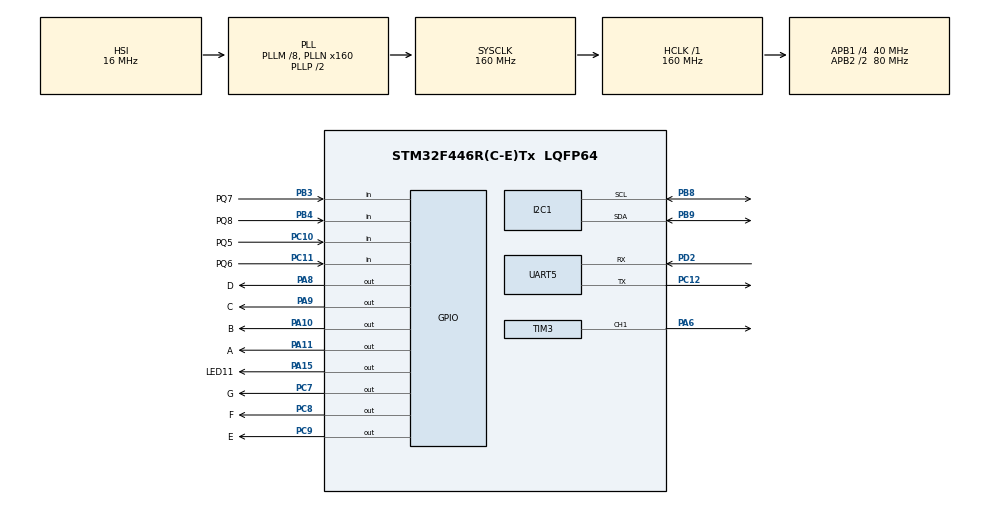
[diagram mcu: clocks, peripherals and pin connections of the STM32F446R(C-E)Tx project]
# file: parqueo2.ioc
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Dma.Request0=TIM3_CH1/TRIG
Dma.TIM3_CH1/TRIG.0.Direction=DMA_MEMORY_TO_PERIPH
Dma.TIM3_CH1/TRIG.0.FIFOMode=DMA_FIFOMODE_DISABLE
Dma.TIM3_CH1/TRIG.0.Instance=DMA1_Stream4
Dma.TIM3_CH1/TRIG.0.MemDataAlignment=DMA_MDATAALIGN_HALFWORD
Dma.TIM3_CH1/TRIG.0.MemInc=DMA_MINC_ENABLE
Dma.TIM3_CH1/TRIG.0.Mode=DMA_NORMAL
Dma.TIM3_CH1/TRIG.0.PeriphDataAlignment=DMA_PDATAALIGN_HALFWORD
Dma.TIM3_CH1/TRIG.0.PeriphInc=DMA_PINC_DISABLE
Dma.TIM3_CH1/TRIG.0.Priority=DMA_PRIORITY_LOW
I2C1.NoStretchMode=I2C_NOSTRETCH_ENABLE
I2C1.OwnAddress=0
Mcu.Family=STM32F4
Mcu.Name=STM32F446R(C-E)Tx
Mcu.Package=LQFP64
NVIC.DMA1_Stream4_IRQn=true\:0\:0\:false\:false\:true\:false\:true\:true
NVIC.I2C1_ER_IRQn=true\:0\:0\:false\:false\:true\:true\:true\:true
NVIC.I2C1_EV_IRQn=true\:0\:0\:false\:false\:true\:true\:true\:true
NVIC.PriorityGroup=NVIC_PRIORITYGROUP_4
NVIC.TIM3_IRQn=true\:0\:0\:false\:false\:true\:true\:true\:true
NVIC.UART5_IRQn=true\:0\:0\:false\:false\:true\:true\:true\:true
PA10.GPIO_Label=B
PA10.Signal=GPIO_Output
PA11.GPIO_Label=A
PA11.Signal=GPIO_Output
PA13.Mode=Serial_Wire
PA13.Signal=SYS_JTMS-SWDIO
PA14.Mode=Serial_Wire
PA14.Signal=SYS_JTCK-SWCLK
PA15.GPIO_Label=LED11
PA15.Signal=GPIO_Output
PA6.Signal=S_TIM3_CH1
PA8.GPIO_Label=D
PA8.Signal=GPIO_Output
PA9.GPIO_Label=C
PA9.Signal=GPIO_Output
PB3.GPIO_Label=PQ7
PB3.Signal=GPIO_Input
PB4.GPIO_Label=PQ8
PB4.Signal=GPIO_Input
PB8.Mode=I2C
PB8.Signal=I2C1_SCL
PB9.Mode=I2C
PB9.Signal=I2C1_SDA
PC10.GPIO_Label=PQ5
PC10.Signal=GPIO_Input
PC11.GPIO_Label=PQ6
PC11.Signal=GPIO_Input
PC12.Mode=Asynchronous
PC12.Signal=UART5_TX
PC7.GPIO_Label=G
PC7.Signal=GPIO_Output
PC8.GPIO_Label=F
PC8.Signal=GPIO_Output
PC9.GPIO_Label=E
PC9.Signal=GPIO_Output
PD2.Mode=Asynchronous
PD2.Signal=UART5_RX
ProjectManager.HeapSize=0x200
ProjectManager.StackSize=0x400
ProjectManager.TargetToolchain=STM32CubeIDE
RCC.AHBFreq_Value=160000000
RCC.APB1CLKDivider=RCC_HCLK_DIV4
RCC.APB1Freq_Value=40000000
RCC.APB1TimFreq_Value=80000000
RCC.APB2CLKDivider=RCC_HCLK_DIV2
RCC.APB2Freq_Value=80000000
RCC.APB2TimFreq_Value=160000000
RCC.CortexFreq_Value=160000000
RCC.HCLKFreq_Value=160000000
RCC.PLLM=8
RCC.PLLN=160
RCC.SYSCLKFreq_VALUE=160000000
RCC.SYSCLKSource=RCC_SYSCLKSOURCE_PLLCLK
RCC.USBFreq_Value=160000000
RCC.VCOOutputFreq_Value=320000000
SH.S_TIM3_CH1.0=TIM3_CH1,PWM Generation1 CH1
TIM3.AutoReloadPreload=TIM_AUTORELOAD_PRELOAD_ENABLE
TIM3.Channel-PWM\ Generation1\ CH1=TIM_CHANNEL_1
TIM3.Period=24
TIM3.Prescaler=3
UART5.VirtualMode=Asynchronous
board=custom

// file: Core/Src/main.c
/* USER CODE BEGIN Header */
/**
  ******************************************************************************
  * @file           : main.c
  * @brief          : Main program body
  ******************************************************************************
  * @attention
  *
  * Copyright (c) 2024 STMicroelectronics.
  * All rights reserved.
  *
  * This software is licensed under terms that can be found in the LICENSE file
  * in the root directory of this software component.
  * If no LICENSE file comes with this software, it is provided AS-IS.
  *
  ******************************************************************************
  */
/* USER CODE END Header */
#include "main.h"

/* USER CODE BEGIN Includes */
#include <string.h>
#include <stdio.h>
#include "neo_pixel.h"

/* USER CODE END Includes */

/* USER CODE BEGIN PD */
#define ESP32_ADDRESS 0x10
#define NUMBER_OF_LEDS 8

/* USER CODE END PD */

I2C_HandleTypeDef hi2c1;

TIM_HandleTypeDef htim3;
DMA_HandleTypeDef hdma_tim3_ch1_trig;

UART_HandleTypeDef huart5;

/* USER CODE BEGIN PV */
uint8_t option[1];
uint8_t tx_buffer[20];

neopixel_led leds[NUMBER_OF_LEDS + 1];
neopixel_led circular_pattern_led[2 * NUMBER_OF_LEDS + 1];
rgb_color led_pattern[NUMBER_OF_LEDS];

int dis = 0;
int m1 = 1;
int m2 = 1;
int m3 = 1;
int m4 = 1;
int m5 = 1;
int m6 = 1;
int m7 = 1;
int m8 = 1;
int conteo = 0; //son los valores que se reciben del I2C

/* USER CODE END PV */

void SystemClock_Config(void);
static void MX_GPIO_Init(void);
static void MX_DMA_Init(void);
static void MX_I2C1_Init(void);
static void MX_TIM3_Init(void);
static void MX_UART5_Init(void);
/* USER CODE BEGIN PFP */

void send_i2c_command(char* command);

/* USER CODE END PFP */

int main(void)
{

  /* USER CODE BEGIN 1 */

	neopixel_led temp_neo_pixel;
	rgb_color red_color = {255, 0, 0};
	rgb_color green_color = {0, 255, 0};
	rgb_color blue_color = {0, 0, 255};
	rgb_color black_color = {0, 0, 0};
	uint16_t led_pos_counter = 0;

  /* USER CODE END 1 */

  /* MCU Configuration--------------------------------------------------------*/

  /* Reset of all peripherals, Initializes the Flash interface and the Systick. */
  HAL_Init();

  /* Configure the system clock */
  SystemClock_Config();

  /* Initialize all configured peripherals */
  MX_GPIO_Init();
  MX_DMA_Init();
  MX_I2C1_Init();
  MX_TIM3_Init();
  MX_UART5_Init();
  /* USER CODE BEGIN 2 */
  HAL_UART_Receive_IT(&huart5, option, 1);  // EMPEZAR RECEPCIÓN

  /* USER CODE END 2 */

  /* Infinite loop */
  /* USER CODE BEGIN WHILE */
  while (1)
  {
	  if(HAL_GPIO_ReadPin(PQ5_GPIO_Port, PQ5_Pin) == 1){
		  HAL_GPIO_WritePin(LED11_GPIO_Port, LED11_Pin, GPIO_PIN_SET);
		  m5 = 1;
		  send_i2c_command("A");
		  transmit_uart5("e");

		  reset_specific_led(leds, 0);
		  set_specific_led(leds, 0, &green_color); // Establecer el primer LED en rojo
		  HAL_TIM_PWM_Start_DMA(&htim3, TIM_CHANNEL_1, (uint32_t*)leds, NUMBER_OF_LEDS * 24 + 24); // Enviar datos a los LEDs

		  HAL_Delay(50);

	  }else{
		  m5 = 0;
		  HAL_GPIO_WritePin(LED11_GPIO_Port, LED11_Pin, GPIO_PIN_RESET);
		  send_i2c_command("a");
		  transmit_uart5("E");

		  reset_specific_led(leds, 0);
		  set_specific_led(leds, 0, &red_color); // Establecer el primer LED en rojo
		  HAL_TIM_PWM_Start_DMA(&htim3, TIM_CHANNEL_1, (uint32_t*)leds, NUMBER_OF_LEDS * 24 + 24); // Enviar datos a los LEDs

		  HAL_Delay(50);
	  };
	  if(HAL_GPIO_ReadPin(PQ6_GPIO_Port, PQ6_Pin) == 1){
		  m6 = 1;
		  send_i2c_command("B");
		  transmit_uart5("f");

		  reset_specific_led(leds, 1);
		  set_specific_led(leds, 1, &green_color); // Establecer el primer LED en rojo
		  HAL_TIM_PWM_Start_DMA(&htim3, TIM_CHANNEL_1, (uint32_t*)leds, NUMBER_OF_LEDS * 24 + 24); // Enviar datos a los LEDs

		  HAL_Delay(50);
	  }else{
		  m6 = 0;
		  send_i2c_command("b");
		  transmit_uart5("F");

		  reset_specific_led(leds, 1);
		  set_specific_led(leds, 1, &red_color); // Establecer el primer LED en rojo
		  HAL_TIM_PWM_Start_DMA(&htim3, TIM_CHANNEL_1, (uint32_t*)leds, NUMBER_OF_LEDS * 24 + 24); // Enviar datos a los LEDs

		  HAL_Delay(50);
	  };
	  if(HAL_GPIO_ReadPin(PQ7_GPIO_Port, PQ7_Pin) == 1){
		  m7 = 1;
		  send_i2c_command("C");
		  transmit_uart5("g");

		  reset_specific_led(leds, 2);
		  set_specific_led(leds, 2, &green_color); // Establecer el primer LED en rojo
		  HAL_TIM_PWM_Start_DMA(&htim3, TIM_CHANNEL_1, (uint32_t*)leds, NUMBER_OF_LEDS * 24 + 24); // Enviar datos a los LEDs

		  HAL_Delay(50);
	  }else{
		  m7 = 0;
		  send_i2c_command("c");
		  transmit_uart5("G");

		  reset_specific_led(leds, 2);
		  set_specific_led(leds, 2, &red_color); // Establecer el primer LED en rojo
		  HAL_TIM_PWM_Start_DMA(&htim3, TIM_CHANNEL_1, (uint32_t*)leds, NUMBER_OF_LEDS * 24 + 24); // Enviar datos a los LEDs

		  HAL_Delay(50);
	  };
	  if(HAL_GPIO_ReadPin(PQ8_GPIO_Port, PQ8_Pin) == 1){
		  m8 = 1;
		  send_i2c_command("D");
		  transmit_uart5("h");

		  reset_specific_led(leds, 3);
		  set_specific_led(leds, 3, &green_color); // Establecer el primer LED en rojo
		  HAL_TIM_PWM_Start_DMA(&htim3, TIM_CHANNEL_1, (uint32_t*)leds, NUMBER_OF_LEDS * 24 + 24); // Enviar datos a los LEDs

		  HAL_Delay(50);
	  }else{
		  m8 = 0;
		  send_i2c_command("d");
		  transmit_uart5("H");

		  reset_specific_led(leds, 3);
		  set_specific_led(leds, 3, &red_color); // Establecer el primer LED en rojo
		  HAL_TIM_PWM_Start_DMA(&htim3, TIM_CHANNEL_1, (uint32_t*)leds, NUMBER_OF_LEDS * 24 + 24); // Enviar datos a los LEDs

		  HAL_Delay(50);
	  };

	  if(m1 == 1){

		  reset_specific_led(leds, 4);
		  set_specific_led(leds, 4, &green_color); // Establecer el primer LED en rojo
		  HAL_TIM_PWM_Start_DMA(&htim3, TIM_CHANNEL_1, (uint32_t*)leds, NUMBER_OF_LEDS * 24 + 24); // Enviar datos a los LEDs

	  }else{
		  reset_specific_led(leds, 4);
		  set_specific_led(leds, 4, &red_color); // Establecer el primer LED en rojo
		  HAL_TIM_PWM_Start_DMA(&htim3, TIM_CHANNEL_1, (uint32_t*)leds, NUMBER_OF_LEDS * 24 + 24); // Enviar datos a los LEDs

	  };

	  if(m2 == 1){

		  reset_specific_led(leds, 5);
		  set_specific_led(leds, 5, &green_color); // Establecer el primer LED en rojo
		  HAL_TIM_PWM_Start_DMA(&htim3, TIM_CHANNEL_1, (uint32_t*)leds, NUMBER_OF_LEDS * 24 + 24); // Enviar datos a los LEDs

	  }else{
		  reset_specific_led(leds, 5);
		  set_specific_led(leds, 5, &red_color); // Establecer el primer LED en rojo
		  HAL_TIM_PWM_Start_DMA(&htim3, TIM_CHANNEL_1, (uint32_t*)leds, NUMBER_OF_LEDS * 24 + 24); // Enviar datos a los LEDs

	  };

	  if(m3 == 1){

		  reset_specific_led(leds, 6);
		  set_specific_led(leds, 6, &green_color); // Establecer el primer LED en rojo
		  HAL_TIM_PWM_Start_DMA(&htim3, TIM_CHANNEL_1, (uint32_t*)leds, NUMBER_OF_LEDS * 24 + 24); // Enviar datos a los LEDs

	  }else{
		  reset_specific_led(leds, 6);
		  set_specific_led(leds, 6, &red_color); // Establecer el primer LED en rojo
		  HAL_TIM_PWM_Start_DMA(&htim3, TIM_CHANNEL_1, (uint32_t*)leds, NUMBER_OF_LEDS * 24 + 24); // Enviar datos a los LEDs

	  };

	  if(m4 == 1){

		  reset_specific_led(leds, 7);
		  set_specific_led(leds, 7, &green_color); // Establecer el primer LED en rojo
		  HAL_TIM_PWM_Start_DMA(&htim3, TIM_CHANNEL_1, (uint32_t*)leds, NUMBER_OF_LEDS * 24 + 24); // Enviar datos a los LEDs

	  }else{
		  reset_specific_led(leds, 7);
		  set_specific_led(leds, 7, &red_color); // Establecer el primer LED en rojo
		  HAL_TIM_PWM_Start_DMA(&htim3, TIM_CHANNEL_1, (uint32_t*)leds, NUMBER_OF_LEDS * 24 + 24); // Enviar datos a los LEDs

	  };

	  dis = m5 + m6 + m7 + m8 + m1 + m2 + m3 + m4;

	  switch(dis){
	  	  case 0:
	  		HAL_GPIO_WritePin(A_GPIO_Port, A_Pin, GPIO_PIN_SET);
	  		HAL_GPIO_WritePin(B_GPIO_Port, B_Pin, GPIO_PIN_SET);
	  		HAL_GPIO_WritePin(C_GPIO_Port, C_Pin, GPIO_PIN_SET);
	  		HAL_GPIO_WritePin(D_GPIO_Port, D_Pin, GPIO_PIN_SET);
	  		HAL_GPIO_WritePin(E_GPIO_Port, E_Pin, GPIO_PIN_SET);
	  		HAL_GPIO_WritePin(F_GPIO_Port, F_Pin, GPIO_PIN_SET);
	  		HAL_GPIO_WritePin(G_GPIO_Port, G_Pin, GPIO_PIN_RESET);
		  break;
	  	case 1:
	  		HAL_GPIO_WritePin(A_GPIO_Port, A_Pin, GPIO_PIN_RESET);
	  		HAL_GPIO_WritePin(B_GPIO_Port, B_Pin, GPIO_PIN_SET);
	  		HAL_GPIO_WritePin(C_GPIO_Port, C_Pin, GPIO_PIN_SET);
	  		HAL_GPIO_WritePin(D_GPIO_Port, D_Pin, GPIO_PIN_RESET);
	  		HAL_GPIO_WritePin(E_GPIO_Port, E_Pin, GPIO_PIN_RESET);
	  		HAL_GPIO_WritePin(F_GPIO_Port, F_Pin, GPIO_PIN_RESET);
	  		HAL_GPIO_WritePin(G_GPIO_Port, G_Pin, GPIO_PIN_RESET);
	  	  break;
	  	case 2:
	  		HAL_GPIO_WritePin(A_GPIO_Port, A_Pin, GPIO_PIN_SET);
	  		HAL_GPIO_WritePin(B_GPIO_Port, B_Pin, GPIO_PIN_SET);
	  		HAL_GPIO_WritePin(C_GPIO_Port, C_Pin, GPIO_PIN_RESET);
	  		HAL_GPIO_WritePin(D_GPIO_Port, D_Pin, GPIO_PIN_SET);
	  		HAL_GPIO_WritePin(E_GPIO_Port, E_Pin, GPIO_PIN_SET);
	  		HAL_GPIO_WritePin(F_GPIO_Port, F_Pin, GPIO_PIN_RESET);
	  		HAL_GPIO_WritePin(G_GPIO_Port, G_Pin, GPIO_PIN_SET);
	  	  break;
	  	case 3:
	  		HAL_GPIO_WritePin(A_GPIO_Port, A_Pin, GPIO_PIN_SET);
	  		HAL_GPIO_WritePin(B_GPIO_Port, B_Pin, GPIO_PIN_SET);
	  		HAL_GPIO_WritePin(C_GPIO_Port, C_Pin, GPIO_PIN_SET);
	  		HAL_GPIO_WritePin(D_GPIO_Port, D_Pin, GPIO_PIN_SET);
	  		HAL_GPIO_WritePin(E_GPIO_Port, E_Pin, GPIO_PIN_RESET);
	  		HAL_GPIO_WritePin(F_GPIO_Port, F_Pin, GPIO_PIN_RESET);
	  		HAL_GPIO_WritePin(G_GPIO_Port, G_Pin, GPIO_PIN_SET);
	  			  break;
	  	case 4:
	  		HAL_GPIO_WritePin(A_GPIO_Port, A_Pin, GPIO_PIN_RESET);
	  		HAL_GPIO_WritePin(B_GPIO_Port, B_Pin, GPIO_PIN_SET);
	  		HAL_GPIO_WritePin(C_GPIO_Port, C_Pin, GPIO_PIN_SET);
	  		HAL_GPIO_WritePin(D_GPIO_Port, D_Pin, GPIO_PIN_RESET);
	  		HAL_GPIO_WritePin(E_GPIO_Port, E_Pin, GPIO_PIN_RESET);
	   		HAL_GPIO_WritePin(F_GPIO_Port, F_Pin, GPIO_PIN_SET);
	   		HAL_GPIO_WritePin(G_GPIO_Port, G_Pin, GPIO_PIN_SET);
	  			  break;
	  	case 5:
	  		HAL_GPIO_WritePin(A_GPIO_Port, A_Pin, GPIO_PIN_SET);
	  		HAL_GPIO_WritePin(B_GPIO_Port, B_Pin, GPIO_PIN_RESET);
	  		HAL_GPIO_WritePin(C_GPIO_Port, C_Pin, GPIO_PIN_SET);
	  		HAL_GPIO_WritePin(D_GPIO_Port, D_Pin, GPIO_PIN_SET);
	  		HAL_GPIO_WritePin(E_GPIO_Port, E_Pin, GPIO_PIN_RESET);
	  		HAL_GPIO_WritePin(F_GPIO_Port, F_Pin, GPIO_PIN_SET);
	  		HAL_GPIO_WritePin(G_GPIO_Port, G_Pin, GPIO_PIN_SET);
	  			  break;
	  	case 6:
	  		HAL_GPIO_WritePin(A_GPIO_Port, A_Pin, GPIO_PIN_SET);
	  		HAL_GPIO_WritePin(B_GPIO_Port, B_Pin, GPIO_PIN_RESET);
	  		HAL_GPIO_WritePin(C_GPIO_Port, C_Pin, GPIO_PIN_SET);
	  		HAL_GPIO_WritePin(D_GPIO_Port, D_Pin, GPIO_PIN_SET);
	  		HAL_GPIO_WritePin(E_GPIO_Port, E_Pin, GPIO_PIN_SET);
	  		HAL_GPIO_WritePin(F_GPIO_Port, F_Pin, GPIO_PIN_SET);
	  		HAL_GPIO_WritePin(G_GPIO_Port, G_Pin, GPIO_PIN_SET);
	  			  break;
	  	case 7:
	  		HAL_GPIO_WritePin(A_GPIO_Port, A_Pin, GPIO_PIN_SET);
	  		HAL_GPIO_WritePin(B_GPIO_Port, B_Pin, GPIO_PIN_SET);
	  		HAL_GPIO_WritePin(C_GPIO_Port, C_Pin, GPIO_PIN_SET);
	  		HAL_GPIO_WritePin(D_GPIO_Port, D_Pin, GPIO_PIN_RESET);
	  		HAL_GPIO_WritePin(E_GPIO_Port, E_Pin, GPIO_PIN_RESET);
	  		HAL_GPIO_WritePin(F_GPIO_Port, F_Pin, GPIO_PIN_RESET);
	  		HAL_GPIO_WritePin(G_GPIO_Port, G_Pin, GPIO_PIN_RESET);
	  		  	  break;
	  	case 8:
	  		HAL_GPIO_WritePin(A_GPIO_Port, A_Pin, GPIO_PIN_SET);
	  		HAL_GPIO_WritePin(B_GPIO_Port, B_Pin, GPIO_PIN_SET);
	  		HAL_GPIO_WritePin(C_GPIO_Port, C_Pin, GPIO_PIN_SET);
	  		HAL_GPIO_WritePin(D_GPIO_Port, D_Pin, GPIO_PIN_SET);
	  		HAL_GPIO_WritePin(E_GPIO_Port, E_Pin, GPIO_PIN_SET);
	  		HAL_GPIO_WritePin(F_GPIO_Port, F_Pin, GPIO_PIN_SET);
	  		HAL_GPIO_WritePin(G_GPIO_Port, G_Pin, GPIO_PIN_SET);
	  			  break;
	  };
    /* USER CODE END WHILE */

  }
}

void SystemClock_Config(void)
{
  RCC_OscInitTypeDef RCC_OscInitStruct = {0};
  RCC_ClkInitTypeDef RCC_ClkInitStruct = {0};

  /** Configure the main internal regulator output voltage
  */
  __HAL_RCC_PWR_CLK_ENABLE();
  __HAL_PWR_VOLTAGESCALING_CONFIG(PWR_REGULATOR_VOLTAGE_SCALE1);

  /** Initializes the RCC Oscillators according to the specified parameters
  * in the RCC_OscInitTypeDef structure.
  */
  RCC_OscInitStruct.OscillatorType = RCC_OSCILLATORTYPE_HSI;
  RCC_OscInitStruct.HSIState = RCC_HSI_ON;
  RCC_OscInitStruct.HSICalibrationValue = RCC_HSICALIBRATION_DEFAULT;
  RCC_OscInitStruct.PLL.PLLState = RCC_PLL_ON;
  RCC_OscInitStruct.PLL.PLLSource = RCC_PLLSOURCE_HSI;
  RCC_OscInitStruct.PLL.PLLM = 8;
  RCC_OscInitStruct.PLL.PLLN = 160;
  RCC_OscInitStruct.PLL.PLLP = RCC_PLLP_DIV2;
  RCC_OscInitStruct.PLL.PLLQ = 2;
  RCC_OscInitStruct.PLL.PLLR = 2;
  if (HAL_RCC_OscConfig(&RCC_OscInitStruct) != HAL_OK)
  {
    Error_Handler();
  }

  /** Initializes the CPU, AHB and APB buses clocks
  */
  RCC_ClkInitStruct.ClockType = RCC_CLOCKTYPE_HCLK|RCC_CLOCKTYPE_SYSCLK
                              |RCC_CLOCKTYPE_PCLK1|RCC_CLOCKTYPE_PCLK2;
  RCC_ClkInitStruct.SYSCLKSource = RCC_SYSCLKSOURCE_PLLCLK;
  RCC_ClkInitStruct.AHBCLKDivider = RCC_SYSCLK_DIV1;
  RCC_ClkInitStruct.APB1CLKDivider = RCC_HCLK_DIV4;
  RCC_ClkInitStruct.APB2CLKDivider = RCC_HCLK_DIV2;

  if (HAL_RCC_ClockConfig(&RCC_ClkInitStruct, FLASH_LATENCY_5) != HAL_OK)
  {
    Error_Handler();
  }
}

static void MX_I2C1_Init(void)
{

  hi2c1.Instance = I2C1;
  hi2c1.Init.ClockSpeed = 100000;
  hi2c1.Init.DutyCycle = I2C_DUTYCYCLE_2;
  hi2c1.Init.OwnAddress1 = 0;
  hi2c1.Init.AddressingMode = I2C_ADDRESSINGMODE_7BIT;
  hi2c1.Init.DualAddressMode = I2C_DUALADDRESS_DISABLE;
  hi2c1.Init.OwnAddress2 = 0;
  hi2c1.Init.GeneralCallMode = I2C_GENERALCALL_DISABLE;
  hi2c1.Init.NoStretchMode = I2C_NOSTRETCH_ENABLE;
  if (HAL_I2C_Init(&hi2c1) != HAL_OK)
  {
    Error_Handler();
  }

}

static void MX_TIM3_Init(void)
{

  TIM_MasterConfigTypeDef sMasterConfig = {0};
  TIM_OC_InitTypeDef sConfigOC = {0};

  htim3.Instance = TIM3;
  htim3.Init.Prescaler = 3;
  htim3.Init.CounterMode = TIM_COUNTERMODE_UP;
  htim3.Init.Period = 24;
  htim3.Init.ClockDivision = TIM_CLOCKDIVISION_DIV1;
  htim3.Init.AutoReloadPreload = TIM_AUTORELOAD_PRELOAD_ENABLE;
  if (HAL_TIM_PWM_Init(&htim3) != HAL_OK)
  {
    Error_Handler();
  }
  sMasterConfig.MasterOutputTrigger = TIM_TRGO_RESET;
  sMasterConfig.MasterSlaveMode = TIM_MASTERSLAVEMODE_DISABLE;
  if (HAL_TIMEx_MasterConfigSynchronization(&htim3, &sMasterConfig) != HAL_OK)
  {
    Error_Handler();
  }
  sConfigOC.OCMode = TIM_OCMODE_PWM1;
  sConfigOC.Pulse = 0;
  sConfigOC.OCPolarity = TIM_OCPOLARITY_HIGH;
  sConfigOC.OCFastMode = TIM_OCFAST_DISABLE;
  if (HAL_TIM_PWM_ConfigChannel(&htim3, &sConfigOC, TIM_CHANNEL_1) != HAL_OK)
  {
    Error_Handler();
  }
  HAL_TIM_MspPostInit(&htim3);

}

static void MX_UART5_Init(void)
{

  huart5.Instance = UART5;
  huart5.Init.BaudRate = 115200;
  huart5.Init.WordLength = UART_WORDLENGTH_8B;
  huart5.Init.StopBits = UART_STOPBITS_1;
  huart5.Init.Parity = UART_PARITY_NONE;
  huart5.Init.Mode = UART_MODE_TX_RX;
  huart5.Init.HwFlowCtl = UART_HWCONTROL_NONE;
  huart5.Init.OverSampling = UART_OVERSAMPLING_16;
  if (HAL_UART_Init(&huart5) != HAL_OK)
  {
    Error_Handler();
  }

}

static void MX_DMA_Init(void)
{

  /* DMA controller clock enable */
  __HAL_RCC_DMA1_CLK_ENABLE();

  /* DMA interrupt init */
  /* DMA1_Stream4_IRQn interrupt configuration */
  HAL_NVIC_SetPriority(DMA1_Stream4_IRQn, 0, 0);
  HAL_NVIC_EnableIRQ(DMA1_Stream4_IRQn);

}

static void MX_GPIO_Init(void)
{
  GPIO_InitTypeDef GPIO_InitStruct = {0};

  /* GPIO Ports Clock Enable */
  __HAL_RCC_GPIOA_CLK_ENABLE();
  __HAL_RCC_GPIOC_CLK_ENABLE();
  __HAL_RCC_GPIOD_CLK_ENABLE();
  __HAL_RCC_GPIOB_CLK_ENABLE();

  /*Configure GPIO pin Output Level */
  HAL_GPIO_WritePin(GPIOC, G_Pin|F_Pin|E_Pin, GPIO_PIN_RESET);

  /*Configure GPIO pin Output Level */
  HAL_GPIO_WritePin(GPIOA, D_Pin|C_Pin|B_Pin|A_Pin
                          |LED11_Pin, GPIO_PIN_RESET);

  /*Configure GPIO pins : G_Pin F_Pin E_Pin */
  GPIO_InitStruct.Pin = G_Pin|F_Pin|E_Pin;
  GPIO_InitStruct.Mode = GPIO_MODE_OUTPUT_PP;
  GPIO_InitStruct.Pull = GPIO_NOPULL;
  GPIO_InitStruct.Speed = GPIO_SPEED_FREQ_LOW;
  HAL_GPIO_Init(GPIOC, &GPIO_InitStruct);

  /*Configure GPIO pins : D_Pin C_Pin B_Pin A_Pin
                           LED11_Pin */
  GPIO_InitStruct.Pin = D_Pin|C_Pin|B_Pin|A_Pin
                          |LED11_Pin;
  GPIO_InitStruct.Mode = GPIO_MODE_OUTPUT_PP;
  GPIO_InitStruct.Pull = GPIO_NOPULL;
  GPIO_InitStruct.Speed = GPIO_SPEED_FREQ_LOW;
  HAL_GPIO_Init(GPIOA, &GPIO_InitStruct);

  /*Configure GPIO pins : PQ5_Pin PQ6_Pin */
  GPIO_InitStruct.Pin = PQ5_Pin|PQ6_Pin;
  GPIO_InitStruct.Mode = GPIO_MODE_INPUT;
  GPIO_InitStruct.Pull = GPIO_NOPULL;
  HAL_GPIO_Init(GPIOC, &GPIO_InitStruct);

  /*Configure GPIO pins : PQ7_Pin PQ8_Pin */
  GPIO_InitStruct.Pin = PQ7_Pin|PQ8_Pin;
  GPIO_InitStruct.Mode = GPIO_MODE_INPUT;
  GPIO_InitStruct.Pull = GPIO_NOPULL;
  HAL_GPIO_Init(GPIOB, &GPIO_InitStruct);

}

/* USER CODE BEGIN 4 */

// Función para enviar un comando I2C
void send_i2c_command(char* command) {
    HAL_I2C_Master_Transmit(&hi2c1, (uint16_t)(ESP32_ADDRESS << 1), (uint8_t*)command, strlen(command), HAL_MAX_DELAY);
}

void transmit_uart5(char *message){
	HAL_UART_Transmit(&huart5, (uint8_t*)message, strlen(message), HAL_MAX_DELAY);
}

void HAL_UART_RxCpltCallback(UART_HandleTypeDef *huart){
	  if(huart->Instance == UART5){

	    		  switch (option[0]){

	    		  case 'A':
	    			  m1 = 1;  //aca pones I2C a es e, b es f, c es g, d es h
	    			  send_i2c_command("E");

	    			  //HAL_Delay(50);
	    			  break;
	    		  case 'a':
	    			  m1 = 0;
	    			  send_i2c_command("e");
	    			  //HAL_Delay(50);
	    			  break;
	    		  case 'B':
	    		 	  m2 = 1;
	    		 	 send_i2c_command("F");
	    		 	 //HAL_Delay(50);
	    		 	  break;
	    		  case 'b':
	    		 	  m2 = 0;
	    		 	  send_i2c_command("f");
	    		 	//HAL_Delay(50);
	    		 	  break;
	    		  case 'C':
	    		  	  m3 = 1;
	    		  	  send_i2c_command("G");
	    		  	//HAL_Delay(50);
	    		  	  break;
	    		  case 'c':
	    		  	  m3 = 0;
	    		  	  send_i2c_command("g");
	    		  	//HAL_Delay(50);
	    		  	  break;
	    		  case 'D':
	    		  	  m4 = 1;
	    		  	  send_i2c_command("H");
	    		  	//HAL_Delay(50);
	    		  	  break;
	    		  case 'd':
	    		  	  m4 = 0;
	    		  	  send_i2c_command("h");
	    		  	//HAL_Delay(50);
	    		  	  break;
	    		  default:
	    			  break;
	    		  }

	    		  HAL_UART_Transmit(&huart5, tx_buffer, strlen(tx_buffer), 10);
	    	  	  HAL_UART_Receive_IT(&huart5, option, 1);

	    	  }
}

/*************Interrupcion para NeoPixel***************/
void HAL_TIM_PWM_PulseFinishedCallback(TIM_HandleTypeDef *htim)	{
	HAL_TIM_PWM_Stop_DMA(&htim3, TIM_CHANNEL_1);
	htim3.Instance->CCR1 = 0;
}

/* USER CODE END 4 */

void Error_Handler(void)
{
  __disable_irq();
  while (1)
  {
  }
}
